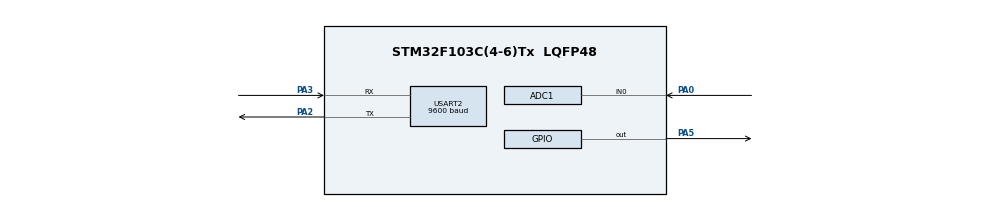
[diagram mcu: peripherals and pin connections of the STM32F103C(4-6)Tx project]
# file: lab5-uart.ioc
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ADC1.Channel-0\#ChannelRegularConversion=ADC_CHANNEL_0
ADC1.ContinuousConvMode=ENABLE
ADC1.NbrOfConversionFlag=1
ADC1.Rank-0\#ChannelRegularConversion=1
ADC1.SamplingTime-0\#ChannelRegularConversion=ADC_SAMPLETIME_1CYCLE_5
ADC1.master=1
Mcu.Family=STM32F1
Mcu.Name=STM32F103C(4-6)Tx
Mcu.Package=LQFP48
NVIC.PriorityGroup=NVIC_PRIORITYGROUP_4
NVIC.TIM2_IRQn=true\:0\:0\:false\:false\:true\:true\:true
NVIC.USART2_IRQn=true\:0\:0\:false\:false\:true\:true\:true
PA0-WKUP.Signal=ADCx_IN0
PA2.Mode=Asynchronous
PA2.Signal=USART2_TX
PA3.Mode=Asynchronous
PA3.Signal=USART2_RX
PA5.Signal=GPIO_Output
PD0-OSC_IN.Mode=HSE-External-Oscillator
PD0-OSC_IN.Signal=RCC_OSC_IN
PD1-OSC_OUT.Mode=HSE-External-Oscillator
PD1-OSC_OUT.Signal=RCC_OSC_OUT
ProjectManager.HeapSize=0x200
ProjectManager.StackSize=0x400
ProjectManager.TargetToolchain=STM32CubeIDE
RCC.APB1Freq_Value=8000000
RCC.APB2Freq_Value=8000000
RCC.SYSCLKSource=RCC_SYSCLKSOURCE_HSE
SH.ADCx_IN0.0=ADC1_IN0,IN0
TIM2.Period=100 - 1
TIM2.Prescaler=8000 - 1
USART2.BaudRate=9600
USART2.VirtualMode=VM_ASYNC
VP_SYS_VS_ND.Mode=No_Debug
VP_TIM2_VS_ClockSourceINT.Mode=Internal
board=custom

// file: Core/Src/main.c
/* USER CODE BEGIN Header */
/**
  ******************************************************************************
  * @file           : main.c
  * @brief          : Main program body
  ******************************************************************************
  * @attention
  *
  * <h2><center>&copy; Copyright (c) 2021 STMicroelectronics.
  * All rights reserved.</center></h2>
  *
  * This software component is licensed by ST under BSD 3-Clause license,
  * the "License"; You may not use this file except in compliance with the
  * License. You may obtain a copy of the License at:
  *                        opensource.org/licenses/BSD-3-Clause
  *
  ******************************************************************************
  */
/* USER CODE END Header */
#include "main.h"

/* USER CODE BEGIN Includes */
#include "command_parser_fsm.h"
#include "uart_communication_fsm.h"
#include "software_timer.h"
/* USER CODE END Includes */

ADC_HandleTypeDef hadc1;

TIM_HandleTypeDef htim2;

UART_HandleTypeDef huart2;

void SystemClock_Config(void);
static void MX_GPIO_Init(void);
static void MX_ADC1_Init(void);
static void MX_USART2_UART_Init(void);
static void MX_TIM2_Init(void);

/* USER CODE BEGIN 0 */
uint8_t temp = 0;
uint8_t buffer[MAX_BUFFER_SIZE];
uint8_t index_buffer = 0;
uint8_t curr_index_buffer = 0;
uint8_t buffer_flag = 0;

uint8_t command_flag = 0;
char command_data[COMMAND_BUFFER];

uint8_t is_timeout = 0;

uint32_t ADC_value = 0;

void HAL_UART_RxCpltCallback(UART_HandleTypeDef *huart) {
	if (huart->Instance == USART2) {
		buffer[index_buffer++] = temp;
		if(index_buffer == 30) index_buffer = 0;
		buffer_flag = 1;
		HAL_UART_Receive_IT(&huart2 , &temp , 1);
	}
}
/* USER CODE END 0 */

int main(void)
{

  /* MCU Configuration--------------------------------------------------------*/

  /* Reset of all peripherals, Initializes the Flash interface and the Systick. */
  HAL_Init();

  /* Configure the system clock */
  SystemClock_Config();

  /* Initialize all configured peripherals */
  MX_GPIO_Init();
  MX_ADC1_Init();
  MX_USART2_UART_Init();
  MX_TIM2_Init();
  /* USER CODE BEGIN 2 */
  software_timer_init();
  HAL_ADC_Start(&hadc1);
  HAL_UART_Receive_IT(&huart2, &temp, 1);
  HAL_TIM_Base_Start_IT(&htim2);
  /* USER CODE END 2 */

  /* Infinite loop */
  while (1)
  {
	  if (buffer_flag == 1) {
			  command_parser_fsm((char)buffer[curr_index_buffer++]);
			  if (curr_index_buffer == 30) curr_index_buffer = 0;
			  buffer_flag = 0;
		  }

	  uart_communication_fsm();
  }
}

void SystemClock_Config(void)
{
  RCC_OscInitTypeDef RCC_OscInitStruct = {0};
  RCC_ClkInitTypeDef RCC_ClkInitStruct = {0};
  RCC_PeriphCLKInitTypeDef PeriphClkInit = {0};

  /** Initializes the RCC Oscillators according to the specified parameters
  * in the RCC_OscInitTypeDef structure.
  */
  RCC_OscInitStruct.OscillatorType = RCC_OSCILLATORTYPE_HSE;
  RCC_OscInitStruct.HSEState = RCC_HSE_ON;
  RCC_OscInitStruct.PLL.PLLState = RCC_PLL_NONE;
  if (HAL_RCC_OscConfig(&RCC_OscInitStruct) != HAL_OK)
  {
    Error_Handler();
  }
  /** Initializes the CPU, AHB and APB buses clocks
  */
  RCC_ClkInitStruct.ClockType = RCC_CLOCKTYPE_HCLK|RCC_CLOCKTYPE_SYSCLK
                              |RCC_CLOCKTYPE_PCLK1|RCC_CLOCKTYPE_PCLK2;
  RCC_ClkInitStruct.SYSCLKSource = RCC_SYSCLKSOURCE_HSE;
  RCC_ClkInitStruct.AHBCLKDivider = RCC_SYSCLK_DIV1;
  RCC_ClkInitStruct.APB1CLKDivider = RCC_HCLK_DIV1;
  RCC_ClkInitStruct.APB2CLKDivider = RCC_HCLK_DIV1;

  if (HAL_RCC_ClockConfig(&RCC_ClkInitStruct, FLASH_LATENCY_0) != HAL_OK)
  {
    Error_Handler();
  }
  PeriphClkInit.PeriphClockSelection = RCC_PERIPHCLK_ADC;
  PeriphClkInit.AdcClockSelection = RCC_ADCPCLK2_DIV2;
  if (HAL_RCCEx_PeriphCLKConfig(&PeriphClkInit) != HAL_OK)
  {
    Error_Handler();
  }
}

static void MX_ADC1_Init(void)
{

  ADC_ChannelConfTypeDef sConfig = {0};

  /** Common config
  */
  hadc1.Instance = ADC1;
  hadc1.Init.ScanConvMode = ADC_SCAN_DISABLE;
  hadc1.Init.ContinuousConvMode = ENABLE;
  hadc1.Init.DiscontinuousConvMode = DISABLE;
  hadc1.Init.ExternalTrigConv = ADC_SOFTWARE_START;
  hadc1.Init.DataAlign = ADC_DATAALIGN_RIGHT;
  hadc1.Init.NbrOfConversion = 1;
  if (HAL_ADC_Init(&hadc1) != HAL_OK)
  {
    Error_Handler();
  }
  /** Configure Regular Channel
  */
  sConfig.Channel = ADC_CHANNEL_0;
  sConfig.Rank = ADC_REGULAR_RANK_1;
  sConfig.SamplingTime = ADC_SAMPLETIME_1CYCLE_5;
  if (HAL_ADC_ConfigChannel(&hadc1, &sConfig) != HAL_OK)
  {
    Error_Handler();
  }

}

static void MX_TIM2_Init(void)
{

  TIM_ClockConfigTypeDef sClockSourceConfig = {0};
  TIM_MasterConfigTypeDef sMasterConfig = {0};

  htim2.Instance = TIM2;
  htim2.Init.Prescaler = 8000 - 1;
  htim2.Init.CounterMode = TIM_COUNTERMODE_UP;
  htim2.Init.Period = 100 - 1;
  htim2.Init.ClockDivision = TIM_CLOCKDIVISION_DIV1;
  htim2.Init.AutoReloadPreload = TIM_AUTORELOAD_PRELOAD_DISABLE;
  if (HAL_TIM_Base_Init(&htim2) != HAL_OK)
  {
    Error_Handler();
  }
  sClockSourceConfig.ClockSource = TIM_CLOCKSOURCE_INTERNAL;
  if (HAL_TIM_ConfigClockSource(&htim2, &sClockSourceConfig) != HAL_OK)
  {
    Error_Handler();
  }
  sMasterConfig.MasterOutputTrigger = TIM_TRGO_RESET;
  sMasterConfig.MasterSlaveMode = TIM_MASTERSLAVEMODE_DISABLE;
  if (HAL_TIMEx_MasterConfigSynchronization(&htim2, &sMasterConfig) != HAL_OK)
  {
    Error_Handler();
  }

}

static void MX_USART2_UART_Init(void)
{

  huart2.Instance = USART2;
  huart2.Init.BaudRate = 9600;
  huart2.Init.WordLength = UART_WORDLENGTH_8B;
  huart2.Init.StopBits = UART_STOPBITS_1;
  huart2.Init.Parity = UART_PARITY_NONE;
  huart2.Init.Mode = UART_MODE_TX_RX;
  huart2.Init.HwFlowCtl = UART_HWCONTROL_NONE;
  huart2.Init.OverSampling = UART_OVERSAMPLING_16;
  if (HAL_UART_Init(&huart2) != HAL_OK)
  {
    Error_Handler();
  }

}

static void MX_GPIO_Init(void)
{
  GPIO_InitTypeDef GPIO_InitStruct = {0};

  /* GPIO Ports Clock Enable */
  __HAL_RCC_GPIOD_CLK_ENABLE();
  __HAL_RCC_GPIOA_CLK_ENABLE();

  /*Configure GPIO pin Output Level */
  HAL_GPIO_WritePin(GPIOA, GPIO_PIN_5, GPIO_PIN_RESET);

  /*Configure GPIO pin : PA5 */
  GPIO_InitStruct.Pin = GPIO_PIN_5;
  GPIO_InitStruct.Mode = GPIO_MODE_OUTPUT_PP;
  GPIO_InitStruct.Pull = GPIO_NOPULL;
  GPIO_InitStruct.Speed = GPIO_SPEED_FREQ_LOW;
  HAL_GPIO_Init(GPIOA, &GPIO_InitStruct);

}

/* USER CODE BEGIN 4 */
void HAL_TIM_PeriodElapsedCallback(TIM_HandleTypeDef *htim) {
	if (htim->Instance == TIM2) {
		timer_run(0);
	}
}
/* USER CODE END 4 */

void Error_Handler(void)
{
  __disable_irq();
  while (1)
  {
  }
}

/************************ (C) COPYRIGHT STMicroelectronics *****END OF FILE****/
